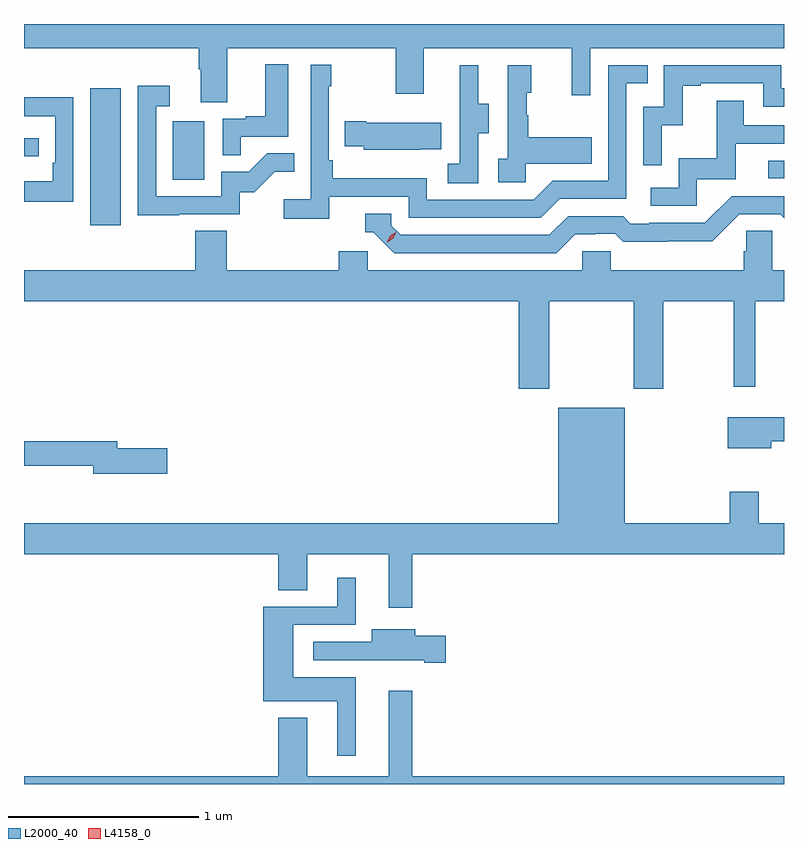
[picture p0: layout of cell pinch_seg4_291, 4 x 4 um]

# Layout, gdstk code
import gdstk
lib = gdstk.Library(unit=1e-6, precision=1e-09)
def R(c, l, rs):  # rectangles x0, y0, x1, y1
    for r in rs: c.add(gdstk.rectangle(r[:2], r[2:], *l))
def P(c, l, *ps):  # polygons
    for p in ps: c.add(gdstk.Polygon(p, *l))
L2000_40 = (2000, 40)
L4158_0 = (4158, 0)

pinch_seg4_291 = lib.new_cell('pinch_seg4_291')
R(pinch_seg4_291, L2000_40, [(924.569,794.556,924.73,795.277), (925.004,794.796,925.168,795.103), (928.137,794.802,928.22,794.895), (924.22,794.919,924.298,795.015)])
P(pinch_seg4_291, L2000_40, [(925.291,795.488),(926.176,795.488),(926.176,795.249),(926.323,795.249),(926.323,795.488),(927.104,795.488),(927.104,795.24),(927.201,795.24),(927.201,795.488),(928.22,795.488),(928.22,795.615),(924.22,795.615),(924.22,795.488),(925.139,795.488),(925.139,795.376),(925.151,795.376),(925.151,795.202),(925.291,795.202)],
  [(925.361,795.021),(925.612,795.021),(925.612,795.403),(925.49,795.403),(925.49,795.13),(925.387,795.13),(925.387,795.117),(925.266,795.117),(925.266,794.923),(925.361,794.923)],
  [(925.826,794.706),(926.244,794.706),(926.244,794.595),(926.941,794.595),(927.04,794.694),(927.39,794.694),(927.39,795.303),(927.503,795.303),(927.503,795.399),(927.294,795.399),(927.294,794.79),(927.003,794.79),(926.904,794.691),(926.34,794.691),(926.34,794.803),(925.844,794.803),(925.844,794.899),(925.824,794.899),(925.824,795.287),(925.837,795.287),(925.837,795.4),(925.728,795.4),(925.728,794.692),(925.587,794.692),(925.587,794.59),(925.826,794.59)],
  [(927.576,795.083),(927.686,795.083),(927.686,795.291),(927.781,795.291),(927.781,795.303),(928.11,795.303),(928.11,795.18),(928.22,795.18),(928.22,795.276),(928.206,795.276),(928.206,795.399),(927.588,795.399),(927.588,795.18),(927.48,795.18),(927.48,794.871),(927.576,794.871)],
  [(926.862,794.879),(927.209,794.879),(927.209,795.019),(926.875,795.019),(926.875,795.134),(926.865,795.134),(926.865,795.252),(926.89,795.252),(926.89,795.397),(926.766,795.397),(926.766,794.906),(926.715,794.906),(926.715,794.781),(926.862,794.781)],
  [(926.61,795.04),(926.665,795.04),(926.665,795.195),(926.611,795.195),(926.611,795.397),(926.513,795.397),(926.513,795.183),(926.514,795.183),(926.514,794.879),(926.451,794.879),(926.451,794.776),(926.61,794.776)],
  [(925.037,794.613),(925.356,794.613),(925.356,794.73),(925.432,794.73),(925.539,794.837),(925.643,794.837),(925.643,794.936),(925.5,794.936),(925.402,794.838),(925.257,794.838),(925.257,794.709),(924.915,794.709),(924.915,795.183),(924.988,795.183),(924.988,795.289),(924.819,795.289),(924.819,794.608),(925.037,794.608)],
  [(924.48,795.23),(924.22,795.23),(924.22,795.129),(924.384,795.129),(924.384,794.884),(924.371,794.884),(924.371,794.788),(924.22,794.788),(924.22,794.679),(924.48,794.679)],
  [(927.762,794.799),(927.967,794.799),(927.967,794.985),(928.22,794.985),(928.22,795.081),(928.009,795.081),(928.009,795.211),(927.865,795.211),(927.865,794.908),(927.666,794.908),(927.666,794.754),(927.519,794.754),(927.519,794.658),(927.762,794.658)],
  [(926.309,794.957),(926.417,794.957),(926.417,795.094),(926.02,795.094),(926.02,795.102),(925.909,795.102),(925.909,794.972),(926.007,794.972),(926.007,794.954),(926.309,794.954)],
  [(927.121,794.508),(927.228,794.508),(927.228,794.511),(927.331,794.511),(927.373,794.469),(927.606,794.469),(927.606,794.471),(927.842,794.471),(927.984,794.613),(928.2,794.613),(928.22,794.593),(928.22,794.709),(927.945,794.709),(927.804,794.568),(927.511,794.568),(927.511,794.565),(927.412,794.565),(927.373,794.604),(927.084,794.604),(926.985,794.505),(926.202,794.505),(926.154,794.553),(926.154,794.616),(926.015,794.616),(926.015,794.52),(926.058,794.52),(926.169,794.409),(927.022,794.409)],
  [(926.985,794.156),(927.43,794.156),(927.43,793.695),(927.585,793.695),(927.585,794.156),(927.955,794.156),(927.955,793.707),(928.069,793.707),(928.069,794.156),(928.22,794.156),(928.22,794.32),(928.158,794.32),(928.158,794.528),(928.021,794.528),(928.021,794.418),(928.007,794.418),(928.007,794.32),(927.309,794.32),(927.309,794.418),(927.159,794.418),(927.159,794.32),(926.028,794.32),(926.028,794.418),(925.877,794.418),(925.877,794.32),(925.286,794.32),(925.286,794.528),(925.121,794.528),(925.121,794.32),(924.22,794.32),(924.22,794.156),(926.825,794.156),(926.825,793.695),(926.985,793.695)],
  [(926.263,792.824),(928.22,792.824),(928.22,792.988),(928.087,792.988),(928.087,793.153),(927.935,793.153),(927.935,792.988),(927.382,792.988),(927.382,793.594),(927.032,793.594),(927.032,792.988),(924.22,792.988),(924.22,792.824),(925.559,792.824),(925.559,792.634),(925.711,792.634),(925.711,792.824),(926.141,792.824),(926.141,792.543),(926.263,792.543)],
  [(928.153,793.418),(928.22,793.418),(928.22,793.546),(927.924,793.546),(927.924,793.382),(928.153,793.382)],
  [(924.973,793.382),(924.712,793.382),(924.712,793.418),(924.22,793.418),(924.22,793.29),(924.584,793.29),(924.584,793.247),(924.973,793.247)],
  [(925.966,792.178),(925.636,792.178),(925.636,792.453),(925.966,792.453),(925.966,792.7),(925.868,792.7),(925.868,792.549),(925.478,792.549),(925.478,792.05),(925.868,792.05),(925.868,791.763),(925.966,791.763)],
  [(926.44,792.396),(926.278,792.396),(926.278,792.43),(926.051,792.43),(926.051,792.363),(925.743,792.363),(925.743,792.267),(926.055,792.267),(926.055,792.266),(926.327,792.266),(926.327,792.254),(926.44,792.254)],
  [(928.22,791.656),(926.263,791.656),(926.263,792.106),(926.141,792.106),(926.141,791.656),(925.711,791.656),(925.711,791.965),(925.559,791.965),(925.559,791.656),(924.22,791.656),(924.22,791.615),(928.22,791.615)])
P(pinch_seg4_291, L4158_0, [(926.131,794.467),(926.131,794.468),(926.147,794.5),(926.179,794.518),(926.179,794.518),(926.179,794.518),(926.162,794.486),(926.131,794.467)])

lib.write_gds('pinch_seg4_291.gds')
